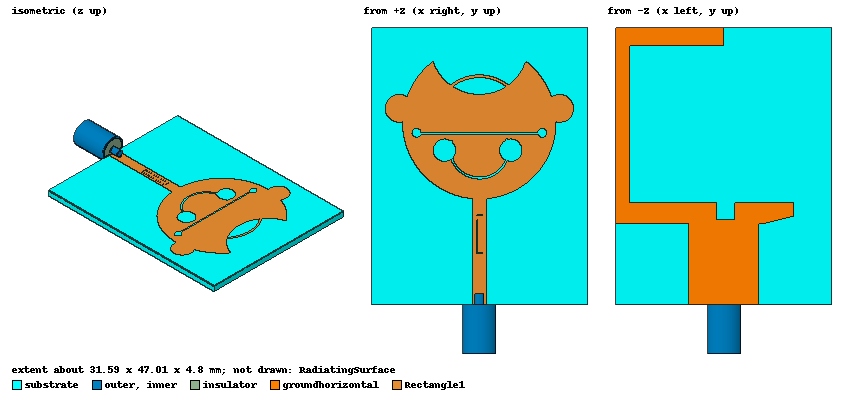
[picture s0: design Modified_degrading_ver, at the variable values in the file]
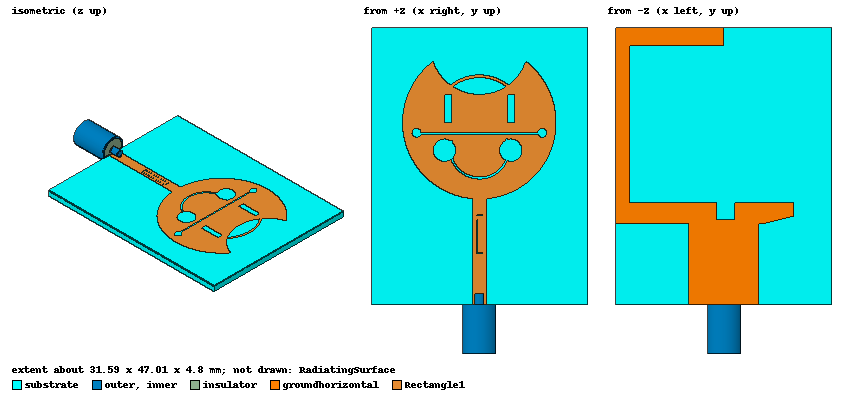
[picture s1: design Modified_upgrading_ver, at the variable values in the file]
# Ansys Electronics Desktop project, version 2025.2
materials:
  vacuum: permittivity=1
  FR4_epoxy: permittivity=4.4 dielectric_loss_tangent=0.02
  Teflon (tm): permittivity=2.1 dielectric_loss_tangent=0.001
  copper: permeability=0.999991 conductivity=58000000

design Modified_degrading_ver (HFSS, HFSS Modal Network, model units mm)
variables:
  r1 = 11mm
  r4 = 6.8mm
  r2 = 7mm
  r3 = 6.4mm
  h = 1.2mm
  w4 = 2mm
  l4 = 22.5mm
  w5 = 13.5mm
  l5 = 2.5mm
  w = 90mm
  w8 = 5mm
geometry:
  substrate [FR4_epoxy] = box(corner=(-21.25mm, -26.15mm, 0mm), size=(42.5mm, 52.3mm, 1.2mm))
  Box1 = box(corner=(-21.25mm, 13.55mm, 0mm), size=(42.5mm, 12.6mm, 1.2mm))
  Box2 = box(corner=(15.5mm, -26.15mm, 0mm), size=(5.75mm, 39.7mm, 1.2mm))
  Box2_1 = Box2.duplicate_mirror(point=(0mm, -26.15mm, 1.2mm), normal=(1mm, 4.5841467e-16mm, 1.4325458e-17mm))
  substrate.subtract(Box1, Box2, Box2_1)
  Rectangle1 = rectangle(corner=(-1mm, -26.15mm, 1.2mm), x_size=2mm, y_size=15.3mm)
  Circle1 = circle(normal=Z, centre=(0mm, 0mm, 1.2mm), radius=11mm)
  Circle2 = circle(normal=Z, centre=(0mm, r1, 1.2mm), radius=r2)
  Circle1.subtract(Circle2)
  Circle4 = circle(normal=Z, centre=(0mm, 0mm, h), radius=r4)
  Circle3 = circle(normal=Z, centre=(0mm, 0, h), radius=r3)
  Circle4.subtract(Circle3)
  Circle1.unite(Circle4)
  Rectangle1.unite(Circle1)
  Circle5 = circle(normal=Z, centre=(-8mm, -6mm, 1.2mm), radius=0.64mm)
  Circle5_1 = Circle5.duplicate_mirror(point=(0mm, -6mm, 0mm), normal=(1mm, 0mm, 0mm))
  Circle5_1.move(0mm, 2mm, -0.2mm)
  Circle5_1.move(1mm, 0mm, 0mm)
  Rectangle8 = rectangle(corner=(-7.5mm, -6.4mm, 1.2mm), x_size=17mm, y_size=0.25mm)
  Rectangle8.move(0mm, 2mm, -0.2mm)
  Rectangle8.move(0mm, 0.15mm, 0mm)
  Rectangle8.move(-1mm, 0mm, 0mm)
  Circle5.move(-1mm, 2mm, -0.2mm)
  Circle5_1.unite(Rectangle8, Circle5)
  Circle5_1.move(0mm, 0mm, 0.2mm)
  Circle5_1.move(0mm, 2.5mm, 0mm)
  Rectangle1.subtract(Circle5_1)
  Circle10 = circle(normal=Z, centre=(6mm, -7mm, 1.2mm), radius=1.6mm)
  Circle10.move(-0.5mm, 0mm, 0mm)
  Circle10.move(-1mm, 0.5mm, 0mm)
  Circle11 = circle(normal=Z, centre=(-3.5mm, -7mm, 1.2mm), radius=1.6mm)
  Circle11.move(-0.5mm, 0mm, 0mm)
  Circle11.move(-1mm, 0.5mm, 0mm)
  Circle12 = circle(normal=Z, centre=(0mm, -6.3mm, 1.2mm), radius=4.3462628mm)
  Circle13 = circle(normal=Z, centre=(0mm, -6.3mm, 1.2mm), radius=4.0360872mm)
  Circle12.subtract(Circle13)
  Circle10.unite(Circle11, Circle12)
  Circle10.move(0mm, 2.5mm, 0mm)
  Rectangle1.subtract(Circle10)
  Rectangle9 = rectangle(corner=(-4.5mm, 1.5mm, 1.2mm), x_size=8.5mm, y_size=-3mm)
  Rectangle1.unite(Rectangle9)
  Rectangle10 = rectangle(corner=(-4.35mm, -1.75mm, 1.2mm), x_size=1.35mm, y_size=-0.8mm)
  Rectangle1.unite(Rectangle10)
  Rectangle11 = rectangle(corner=(4.5mm, -1.75mm, 1.2mm), x_size=-1.5mm, y_size=-0.65mm)
  Rectangle1.unite(Rectangle11)
  Rectangle12 = rectangle(corner=(-1mm, -11.45mm, 1.2mm), x_size=2mm, y_size=-7.42mm)
  Rectangle1.unite(Rectangle12)
  Rectangle13 = rectangle(corner=(-0.4mm, -13.9mm, 1.2mm), x_size=0.1mm, y_size=-4.9mm)
  Rectangle14 = rectangle(corner=(-0.3mm, -18.8mm, 1.2mm), x_size=0.7mm, y_size=0.1mm)
  Rectangle15 = rectangle(corner=(0.4mm, -18.8mm, 1.2mm), x_size=0.1mm, y_size=5.6mm)
  Rectangle16 = rectangle(corner=(0.4mm, -13.2mm, 1.2mm), x_size=-0.8mm, y_size=-0.1mm)
  Rectangle13.unite(Rectangle14, Rectangle15, Rectangle16)
  Rectangle1.subtract(Rectangle13)
  Circle14 = circle(normal=Z, centre=(-11.5mm, 2mm, 1.2mm), radius=2mm)
  Circle15 = circle(normal=Z, centre=(11.5mm, 2mm, 1.2mm), radius=2mm)
  Rectangle1.unite(Circle14, Circle15)
  RadiatingSurface [vacuum] = region(absolute_offset=13.605442mm on all sides)
  groundhorizontal = rectangle(corner=((w/2-w8/2)/2, l4/2-0.2mm, 0), x_size=-(w4+w5), y_size=l5)
  groundhorizontal.move(-5.75mm, 1.7763568e-15mm, 0mm)
  gmid = rectangle(corner=(-5mm, -11.45mm, 0mm), x_size=10mm, y_size=-14.7mm)
  Rectangle3 = rectangle(corner=(-1.5mm, -13.95mm, 0mm), x_size=0.5mm, y_size=2.5mm)
  gmid.subtract(Rectangle3)
  Ground = rectangle(corner=(-21.25mm, -26.15mm, 0mm), x_size=42.5mm, y_size=14.7mm)
  groundminus = rectangle(corner=(-5mm, -14.45mm, 0mm), x_size=-16.25mm, y_size=-11.7mm)
  groundminus_1 = groundminus.duplicate_mirror(point=(0mm, -26.15mm, 1.2mm), normal=(1mm, 0mm, 1.0449158e-17mm))
  Ground.subtract(groundminus)
  Ground.subtract(groundminus_1)
  Rectangle4 = rectangle(corner=(-21.25mm, -14.45mm, 0mm), x_size=11.25mm, y_size=3mm)
  Ground.subtract(Rectangle4)
  Rectangle5 = rectangle(corner=(-10mm, -14.45mm, 0mm), x_size=9mm, y_size=3mm)
  Ground.subtract(Rectangle5)
  groundleft = rectangle(corner=(-1mm, -11.45mm, 0mm), x_size=-9mm, y_size=-3mm)
  gap = rectangle(corner=(1mm, -11.45mm, 0mm), x_size=-(2.5mm), y_size=-2.5mm)
  groundleft.subtract(gap)
  Polyline1 = polyline(z=0mm, xy in mm: (-10, -14.45) (-10, -13.45) (-6, -14.45) (-10, -14.45), closed, covered)
  groundleft.subtract(Polyline1)
  groundvertical = rectangle(corner=(13.5mm, -(22.5/2) mm, 0mm), x_size=2mm, y_size=22.5mm)
  groundvertical.move(-1.7763568e-15mm, -0.2mm, 0mm)
  groundhorizontal.unite(gmid, Ground, groundleft, groundvertical)
  Rectangle6 = rectangle(corner=(-1mm, -11.45mm, 0mm), x_size=2mm, y_size=-2.5mm)
  groundhorizontal.subtract(Rectangle6)
  Rectangle7 = rectangle(corner=(15.5mm, -11.45mm, 0mm), x_size=5.75mm, y_size=-3mm)
  groundhorizontal.subtract(Rectangle7)
  inner [copper] = cylinder(axis=X, base_centre=(14mm, 0mm, H +0.64mm), radius=0.64mm, height=8.65mm)
  Cylinder1_1 = inner.copy()
  inner_1 = inner.copy()
  inner.rotate(axis=Z, angle=270deg)
  inner.move(-21.25mm, -10.5mm, -2.220446e-16mm)
  inner.move(3.5527137e-15mm, 0mm, -0.36mm)
  inner.move(21.25mm, 0mm, 0mm)
  inner.move(-15.5mm, -1.0658141e-14mm, 0.36mm)
  inner.move(15.5mm, 1.0658141e-14mm, 2.220446e-16mm)
  insulator [Teflon (tm)] = cylinder(axis=X, base_centre=(15.65mm, 0mm, H+0.64mm), radius=2.1mm, height=7mm)
  insulator.subtract(Cylinder1_1)
  insulator_1 = insulator.copy()
  insulator.rotate(axis=Z, angle=270deg)
  insulator.move(-21.25mm, -10.5mm, -2.220446e-16mm)
  insulator.move(3.5527137e-15mm, 0mm, -0.36mm)
  insulator.move(21.25mm, 0mm, 0mm)
  insulator.move(-15.5mm, -1.0658141e-14mm, 0.36mm)
  insulator.move(15.5mm, 1.0658141e-14mm, 2.220446e-16mm)
  outer [copper] = cylinder(axis=X, base_centre=(15.65mm, 0mm, H+0.64 mm), radius=2.4mm, height=7mm)
  outer.subtract(inner_1, insulator_1)
  outer.rotate(axis=Z, angle=270deg)
  outer.move(-21.25mm, -10.5mm, -2.220446e-16mm)
  outer.move(3.5527137e-15mm, 0mm, -0.36mm)
  outer.move(21.25mm, 0mm, 0mm)
  outer.move(-15.5mm, -1.0658141e-14mm, 0.36mm)
  outer.move(15.5mm, 1.0658141e-14mm, 2.220446e-16mm)
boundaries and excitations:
  PerfE4: Perfect E Objects=groundhorizontal
  PerfE5: Perfect E Objects=Rectangle1
  Open1: Radiation Objects=RadiatingSurface
  2: Lumped Port Faces=inner.face(at (0, -33.15, 1.84)) insulator.face(at (0, -33.15, 1.84)) outer.face(at (0, -33.15, 1.84)) LumpedPortType=Modal Modes{Mode1{IntLine{(0, -33.15, 1.84) -> (0, -33.15, 4.24)} CharImp=Zpi}} Impedance=50ohm
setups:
  Setup1: HfssDriven MultipleAdaptiveFreqsSetup{Low=2GHz High=12GHz} MaxDeltaS=0.02 MaximumPasses=6 MinimumPasses=1 MinimumConvergedPasses=1 PercentRefinement=30 BasisOrder=1 PortAccuracy=2 DrivenSolverType="Direct Solver"
    sweep Sweep: 2GHz to 12GHz, 101 points; Type=Interpolating SaveFields InterpTolerance=0.5 InterpMaxSolns=250 InterpUsePortImped=false PassivityErrorTolerance=0.0001
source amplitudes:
  2:1: 1W 0deg
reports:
  S Parameter Plot1: dB(S(2,2)) vs Freq on Setup1 : Sweep; markers m1 at 3GHz, m2 at 3.4GHz, m3 at 3.6GHz, m4 at 4.2GHz

design Modified_upgrading_ver (HFSS, HFSS Modal Network, model units mm)
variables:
  h = 1.2mm
  r1 = 11mm
  r3 = 6.4mm
  r4 = 6.8mm
  r2 = 7mm
  w4 = 2mm
  w = 90mm
  l5 = 2.5mm
  l4 = 22.5mm
  w5 = 13.5mm
  w8 = 5mm
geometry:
  substrate [FR4_epoxy] = box(corner=(-21.25mm, -26.15mm, 0mm), size=(42.5mm, 52.3mm, 1.2mm))
  Box1 = box(corner=(-21.25mm, 13.55mm, 0mm), size=(42.5mm, 12.6mm, 1.2mm))
  Box2 = box(corner=(15.5mm, -26.15mm, 0mm), size=(5.75mm, 39.7mm, 1.2mm))
  Box2_1 = Box2.duplicate_mirror(point=(0mm, -26.15mm, 1.2mm), normal=(1mm, 4.5841467e-16mm, 1.4325458e-17mm))
  substrate.subtract(Box1, Box2, Box2_1)
  Rectangle1 = rectangle(corner=(-1mm, -26.15mm, 1.2mm), x_size=2mm, y_size=15.3mm)
  Circle1 = circle(normal=Z, centre=(0mm, 0mm, 1.2mm), radius=11mm)
  Circle2 = circle(normal=Z, centre=(0mm, r1, 1.2mm), radius=r2)
  Circle1.subtract(Circle2)
  Circle4 = circle(normal=Z, centre=(0mm, 0mm, h), radius=r4)
  Circle3 = circle(normal=Z, centre=(0mm, 0, h), radius=r3)
  Circle4.subtract(Circle3)
  Circle1.unite(Circle4)
  Rectangle1.unite(Circle1)
  Circle5 = circle(normal=Z, centre=(-8mm, -6mm, 1.2mm), radius=0.64mm)
  Circle5_1 = Circle5.duplicate_mirror(point=(0mm, -6mm, 0mm), normal=(1mm, 0mm, 0mm))
  Circle5_1.move(0mm, 2mm, -0.2mm)
  Circle5_1.move(1mm, 0mm, 0mm)
  Rectangle8 = rectangle(corner=(-7.5mm, -6.4mm, 1.2mm), x_size=17mm, y_size=0.25mm)
  Rectangle8.move(0mm, 2mm, -0.2mm)
  Rectangle8.move(0mm, 0.15mm, 0mm)
  Rectangle8.move(-1mm, 0mm, 0mm)
  Circle5.move(-1mm, 2mm, -0.2mm)
  Circle5_1.unite(Rectangle8, Circle5)
  Circle5_1.move(0mm, 0mm, 0.2mm)
  Circle5_1.move(0mm, 2.5mm, 0mm)
  Rectangle1.subtract(Circle5_1)
  Circle10 = circle(normal=Z, centre=(6mm, -7mm, 1.2mm), radius=1.6mm)
  Circle10.move(-0.5mm, 0mm, 0mm)
  Circle10.move(-1mm, 0.5mm, 0mm)
  Circle11 = circle(normal=Z, centre=(-3.5mm, -7mm, 1.2mm), radius=1.6mm)
  Circle11.move(-0.5mm, 0mm, 0mm)
  Circle11.move(-1mm, 0.5mm, 0mm)
  Circle12 = circle(normal=Z, centre=(0mm, -6.3mm, 1.2mm), radius=4.3462628mm)
  Circle13 = circle(normal=Z, centre=(0mm, -6.3mm, 1.2mm), radius=4.0360872mm)
  Circle12.subtract(Circle13)
  Circle10.unite(Circle11, Circle12)
  Circle10.move(0mm, 2.5mm, 0mm)
  Rectangle1.subtract(Circle10)
  Rectangle9 = rectangle(corner=(-4.5mm, 1.5mm, 1.2mm), x_size=8.5mm, y_size=-3mm)
  Rectangle1.unite(Rectangle9)
  Rectangle10 = rectangle(corner=(-4.35mm, -1.75mm, 1.2mm), x_size=1.35mm, y_size=-0.8mm)
  Rectangle1.unite(Rectangle10)
  Rectangle11 = rectangle(corner=(4.5mm, -1.75mm, 1.2mm), x_size=-1.5mm, y_size=-0.65mm)
  Rectangle1.unite(Rectangle11)
  Rectangle12 = rectangle(corner=(-1mm, -11.45mm, 1.2mm), x_size=2mm, y_size=-7.42mm)
  Rectangle1.unite(Rectangle12)
  Rectangle13 = rectangle(corner=(-0.4mm, -13.9mm, 1.2mm), x_size=0.1mm, y_size=-4.9mm)
  Rectangle14 = rectangle(corner=(-0.3mm, -18.8mm, 1.2mm), x_size=0.7mm, y_size=0.1mm)
  Rectangle15 = rectangle(corner=(0.4mm, -18.8mm, 1.2mm), x_size=0.1mm, y_size=5.6mm)
  Rectangle16 = rectangle(corner=(0.4mm, -13.2mm, 1.2mm), x_size=-0.8mm, y_size=-0.1mm)
  Rectangle13.unite(Rectangle14, Rectangle15, Rectangle16)
  Rectangle1.subtract(Rectangle13)
  RadiatingSurface [vacuum] = region(absolute_offset=13.605442mm on all sides)
  groundhorizontal = rectangle(corner=((w/2-w8/2)/2, l4/2-0.2mm, 0), x_size=-(w4+w5), y_size=l5)
  groundhorizontal.move(-5.75mm, 1.7763568e-15mm, 0mm)
  gmid = rectangle(corner=(-5mm, -11.45mm, 0mm), x_size=10mm, y_size=-14.7mm)
  Rectangle3 = rectangle(corner=(-1.5mm, -13.95mm, 0mm), x_size=0.5mm, y_size=2.5mm)
  gmid.subtract(Rectangle3)
  Ground = rectangle(corner=(-21.25mm, -26.15mm, 0mm), x_size=42.5mm, y_size=14.7mm)
  groundminus = rectangle(corner=(-5mm, -14.45mm, 0mm), x_size=-16.25mm, y_size=-11.7mm)
  groundminus_1 = groundminus.duplicate_mirror(point=(0mm, -26.15mm, 1.2mm), normal=(1mm, 0mm, 1.0449158e-17mm))
  Ground.subtract(groundminus)
  Ground.subtract(groundminus_1)
  Rectangle4 = rectangle(corner=(-21.25mm, -14.45mm, 0mm), x_size=11.25mm, y_size=3mm)
  Ground.subtract(Rectangle4)
  Rectangle5 = rectangle(corner=(-10mm, -14.45mm, 0mm), x_size=9mm, y_size=3mm)
  Ground.subtract(Rectangle5)
  groundleft = rectangle(corner=(-1mm, -11.45mm, 0mm), x_size=-9mm, y_size=-3mm)
  gap = rectangle(corner=(1mm, -11.45mm, 0mm), x_size=-(2.5mm), y_size=-2.5mm)
  groundleft.subtract(gap)
  Polyline1 = polyline(z=0mm, xy in mm: (-10, -14.45) (-10, -13.45) (-6, -14.45) (-10, -14.45), closed, covered)
  groundleft.subtract(Polyline1)
  groundvertical = rectangle(corner=(13.5mm, -(22.5/2) mm, 0mm), x_size=2mm, y_size=22.5mm)
  groundvertical.move(-1.7763568e-15mm, -0.2mm, 0mm)
  groundhorizontal.unite(gmid, Ground, groundleft, groundvertical)
  Rectangle6 = rectangle(corner=(-1mm, -11.45mm, 0mm), x_size=2mm, y_size=-2.5mm)
  groundhorizontal.subtract(Rectangle6)
  Rectangle7 = rectangle(corner=(15.5mm, -11.45mm, 0mm), x_size=5.75mm, y_size=-3mm)
  groundhorizontal.subtract(Rectangle7)
  inner [copper] = cylinder(axis=X, base_centre=(14mm, 0mm, H +0.64mm), radius=0.64mm, height=8.65mm)
  Cylinder1_1 = inner.copy()
  inner_1 = inner.copy()
  inner.rotate(axis=Z, angle=270deg)
  inner.move(-21.25mm, -10.5mm, -2.220446e-16mm)
  inner.move(3.5527137e-15mm, 0mm, -0.36mm)
  inner.move(21.25mm, 0mm, 0mm)
  inner.move(-15.5mm, -1.0658141e-14mm, 0.36mm)
  inner.move(15.5mm, 1.0658141e-14mm, 2.220446e-16mm)
  insulator [Teflon (tm)] = cylinder(axis=X, base_centre=(15.65mm, 0mm, H+0.64mm), radius=2.1mm, height=7mm)
  insulator.subtract(Cylinder1_1)
  insulator_1 = insulator.copy()
  insulator.rotate(axis=Z, angle=270deg)
  insulator.move(-21.25mm, -10.5mm, -2.220446e-16mm)
  insulator.move(3.5527137e-15mm, 0mm, -0.36mm)
  insulator.move(21.25mm, 0mm, 0mm)
  insulator.move(-15.5mm, -1.0658141e-14mm, 0.36mm)
  insulator.move(15.5mm, 1.0658141e-14mm, 2.220446e-16mm)
  outer [copper] = cylinder(axis=X, base_centre=(15.65mm, 0mm, H+0.64 mm), radius=2.4mm, height=7mm)
  outer.subtract(inner_1, insulator_1)
  outer.rotate(axis=Z, angle=270deg)
  outer.move(-21.25mm, -10.5mm, -2.220446e-16mm)
  outer.move(3.5527137e-15mm, 0mm, -0.36mm)
  outer.move(21.25mm, 0mm, 0mm)
  outer.move(-15.5mm, -1.0658141e-14mm, 0.36mm)
  outer.move(15.5mm, 1.0658141e-14mm, 2.220446e-16mm)
  Rectangle17 = rectangle(corner=(-5mm, 0mm, 1.2mm), x_size=1mm, y_size=4mm)
  Rectangle17_1 = Rectangle17.duplicate_mirror(point=(0mm, 0mm, 0mm), normal=(1mm, 0mm, 0mm))
  Rectangle1.subtract(Rectangle17, Rectangle17_1)
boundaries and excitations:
  PerfE4: Perfect E Objects=groundhorizontal
  PerfE5: Perfect E Objects=Rectangle1
  Open1: Radiation Objects=RadiatingSurface
  2: Lumped Port Faces=inner.face(at (0, -33.15, 1.84)) insulator.face(at (0, -33.15, 1.84)) outer.face(at (0, -33.15, 1.84)) LumpedPortType=Modal Modes{Mode1{IntLine{(0, -33.15, 1.84) -> (0, -33.15, 4.24)} CharImp=Zpi}} Impedance=50ohm
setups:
  Setup1: HfssDriven MultipleAdaptiveFreqsSetup{Low=2GHz High=12GHz} MaxDeltaS=0.02 MaximumPasses=6 MinimumPasses=1 MinimumConvergedPasses=1 PercentRefinement=30 BasisOrder=1 PortAccuracy=2 DrivenSolverType="Direct Solver"
    sweep Sweep: 2GHz to 12GHz, 101 points; Type=Interpolating SaveFields InterpTolerance=0.5 InterpMaxSolns=250 InterpUsePortImped=false PassivityErrorTolerance=0.0001
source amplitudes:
  2:1: 1W 0deg
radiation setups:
  Infinite Sphere1: Infinite Sphere Theta=-180deg..180deg step 2deg Phi=0deg..90deg step 90deg
  Infinite Sphere2: Infinite Sphere Theta=0deg..360deg step 2deg Phi=-180deg..180deg step 2deg
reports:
  S Parameter Plot1: dB(S(2,2)) vs Freq on Setup1 : Sweep; markers m1 at 2.7GHz, m2 at 3.6GHz, m3 at 3.8GHz, m4 at 4.3GHz, m5 at 5.8GHz, m6 at 7GHz, m7 at 6.5GHz, m8 at 7.5GHz, m9 at 9.9GHz, m10 at 8.4GHz
  Gain Plot1: dB(GainTotal) vs Freq on Setup1 : Sweep, Infinite Sphere1 [Phi=0deg Theta=0deg]
  Gain Plot2: dB(GainTotal) vs Theta on Setup1 : LastAdaptive, Infinite Sphere1 [Phi=all Freq=7GHz]
  Gain Plot3: dB(GainTotal) vs Phi, Theta on Setup1 : LastAdaptive, Infinite Sphere2 [Freq=7GHz]
